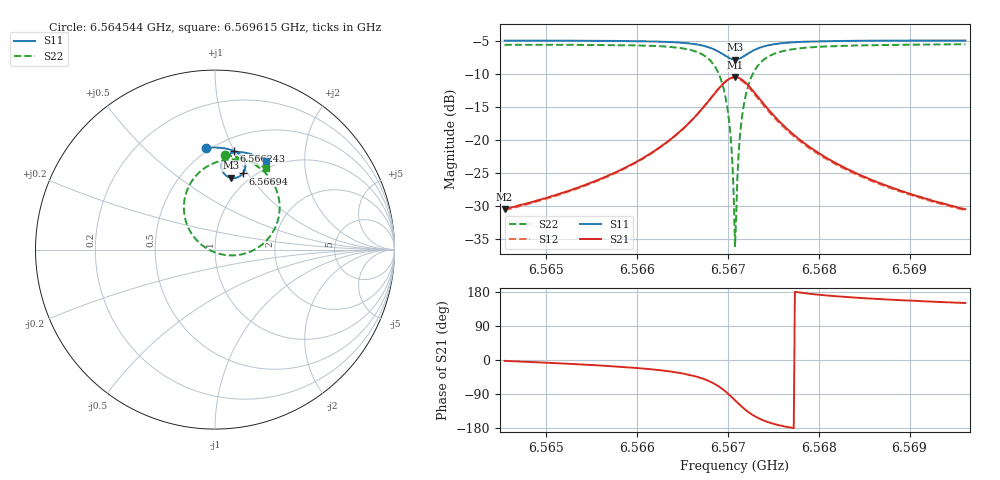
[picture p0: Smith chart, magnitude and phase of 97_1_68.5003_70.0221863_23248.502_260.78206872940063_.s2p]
#  HZ  S  RI  R  50.00
! Rohde & Schwarz Vector Network Analyzer
! Rohde-Schwarz,ZNB20-2Port,1311601062101988,3.16
! Created: UTC 3/20/2024, 4:52:53 PM
! freq[Hz]  re:S11  im:S11  re:S21  im:S21  re:S12  im:S12  re:S22  im:S22
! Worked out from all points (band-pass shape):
!   401 points, 6.564544 GHz to 6.569615 GHz, reference 50 ohm
!   highest |S21| = -10.43 dB at 6.567079 GHz (marker M1); lowest = -30.5 dB at 6.564544 GHz (marker M2)
!   |S21| within 3 dB of the highest: 6.566825 GHz to 6.567333 GHz (507.5 kHz wide, 0.00773 % of centre)
!   lowest |S11| = -7.8 dB at 6.567079 GHz (marker M3), VSWR 2.39, Z = 41.9 + j40.3 ohm
!   |S11| at or under -10 dB: nowhere
!   |S22| runs from -36.0 to -5.4 dB; largest |S21 - S12| = 0.015
!   S11 on the Smith chart (normalised r, x): 6.564544 GHz: 0.48, +0.80; 6.566243 GHz: 0.62, +1.00; 6.56694 GHz: 0.89, +0.95; 6.569615 GHz: 0.89, +1.31
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6.5645436e9  -0.0477 0.5674  0.03 -0.00122  0.0296 -0.00176  0.0551 0.5262
6.5653931e9  0.023 0.5677  0.0439 -0.00911  0.0432 -0.00985  0.1389 0.5103
6.5662426e9  0.1054 0.5495  0.0784 -0.0392  0.0771 -0.0402  0.2599 0.4468
6.5665342e9  0.1409 0.5275  0.1017 -0.0767  0.1002 -0.0783  0.3227 0.3729
6.566737e9  0.165 0.4926  0.115 -0.1379  0.1122 -0.1409  0.3596 0.2544
6.5668511e9  0.169 0.4579  0.1033 -0.199  0.098 -0.2029  0.3421 0.138
6.5669399e9  0.1551 0.4243  0.0621 -0.2566  0.0527 -0.2599  0.2657 0.0306
6.5669779e9  0.1417 0.4112  0.0308 -0.278  0.0194 -0.2797  0.207 -0.00709
6.5670159e9  0.1235 0.4018  -0.00884 -0.2919  -0.0219 -0.2911  0.1339 -0.0294
6.5670413e9  0.1096 0.3987  -0.0383 -0.2952  -0.0521 -0.292  0.0802 -0.0323
6.5670667e9  0.0949 0.3987  -0.0689 -0.2924  -0.0824 -0.2871  0.026 -0.024
6.5670793e9  0.0877 0.3999  -0.0839 -0.2889  -0.0972 -0.2823  -0.00041 -0.0158
6.567092e9  0.0806 0.402  -0.0986 -0.284  -0.1113 -0.2761  -0.0257 -0.00473
6.5671047e9  0.0738 0.4049  -0.1126 -0.2775  -0.1246 -0.2685  -0.0494 0.00882
6.5671301e9  0.0614 0.4124  -0.1379 -0.2608  -0.1483 -0.25  -0.0914 0.0416
6.5671681e9  0.0472 0.4279  -0.1674 -0.2294  -0.1746 -0.217  -0.1381 0.1012
6.5672188e9  0.0375 0.4511  -0.1896 -0.1833  -0.1929 -0.1706  -0.169 0.1852
6.5672822e9  0.037 0.4783  -0.1955 -0.1306  -0.1951 -0.1195  -0.1699 0.2779
6.5675104e9  0.0747 0.5299  -0.1501 -0.0294  -0.1464 -0.0248  -0.0671 0.4477
6.5679288e9  0.1377 0.5436  -0.0857 0.00886  -0.0836 0.0104  0.075 0.5022
6.5687783e9  0.2198 0.5252  -0.0418 0.0156  -0.0407 0.0159  0.2069 0.4864
6.5696151e9  0.2831 0.496  -0.0261 0.0148  -0.0256 0.015  0.2841 0.4527
